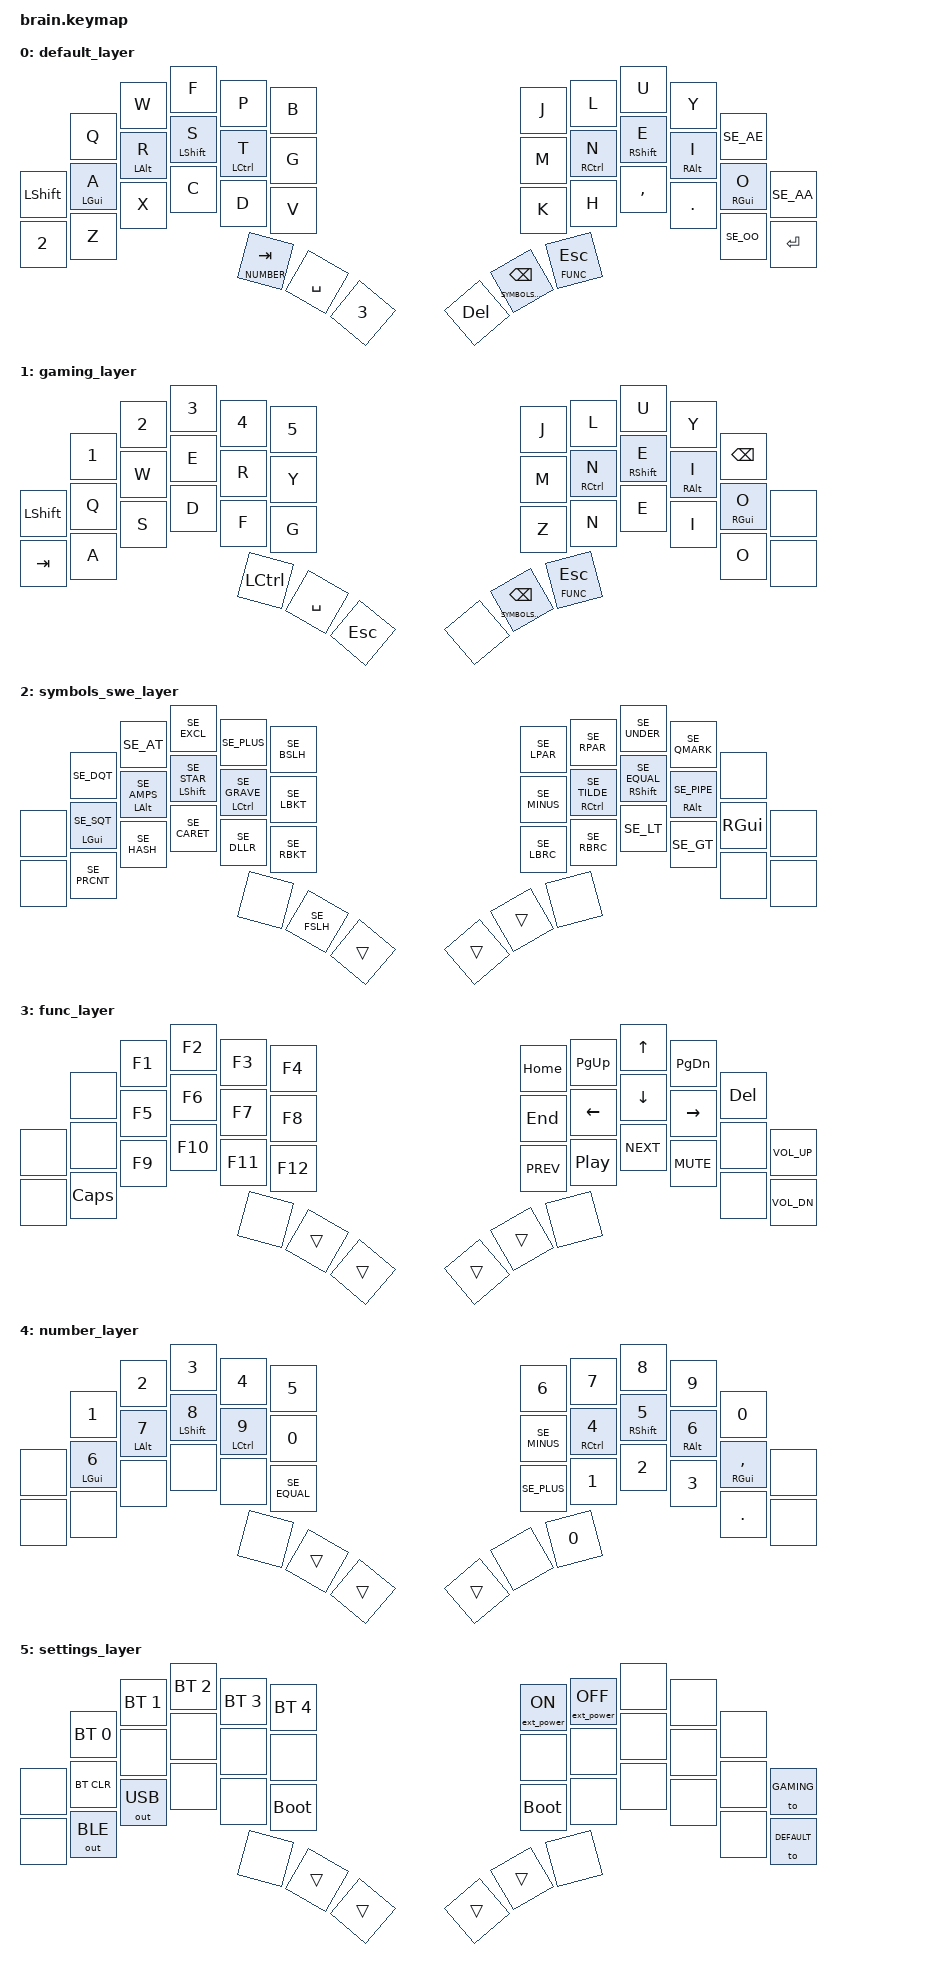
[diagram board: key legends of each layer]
/*
 * Copyright (c) 2020 The ZMK Contributors
 *
 * SPDX-License-Identifier: MIT
 */

#include <behaviors.dtsi>
#include <dt-bindings/zmk/keys.h>
#include <dt-bindings/zmk/bt.h>
#include <dt-bindings/zmk/outputs.h>
#include <dt-bindings/zmk/ext_power.h>
#include "swe_keys.h"

#define DEFAULT     0
#define GAMING      1
#define SYMBOLS_SWE 2
#define FUNC        3
#define NUMBER      4
#define SETTINGS    5

/ {
    behaviors {
        hm: homerow_mods {
            compatible = "zmk,behavior-hold-tap";
            label = "HOMEROW_MODS";
            #binding-cells = <2>;
            tapping-term-ms = <200>;
            quick-tap-ms = <0>;
            flavor = "tap-preferred";
            bindings = <&kp>, <&kp>;
        };
        hs: homerow_mods_slow {
            compatible = "zmk,behavior-hold-tap";
            label = "HOMEROW_MODS_SLOW";
            #binding-cells = <2>;
            tapping-term-ms = <300>;
            quick-tap-ms = <0>;
            flavor = "tap-preferred";
            bindings = <&kp>, <&kp>;
        };
    };
    cond_layers {
        compatible = "zmk,conditional-layers";
        // Define SETTINGS layer as tri-state
        func_tristate {
            if-layers = <SYMBOLS_SWE FUNC>;
            then-layer = <SETTINGS>;
        };
    };

/*           40 Keys
╭─────────────────╮ ╭─────────────────╮
│    0  1  2  3  4│ │ 5  6  7  8  9   │
│10 11 12 13 14 15│ │16 17 18 19 20 21│
│22 23 24 25 26 27│ │28 29 30 31 32 33│
╰────────╮34 35 36│ │37 38 39╭────────╯
         ╰────────╯ ╰────────╯       */
/*    combos {
        compatible = "zmk,combos";

        combo_esc {
            timeout-ms = <50>;
            key-positions = <0 1>;
            bindings = <&kp ESC>;
        };
        combo_tab {
            timeout-ms = <50>;
            key-positions = <10 11>;
            bindings = <&kp TAB>;
        };
        combo_ralt {
            timeout-ms = <50>;
            key-positions = <17 16>;
            bindings = <&kp RALT>;
        };
        combo_lalt {
            timeout-ms = <50>;
            key-positions = <11 12>;
            bindings = <&kp LALT>;
        };
        combo_lgui {
            timeout-ms = <50>;
            key-positions = <12 13>;
            bindings = <&kp LGUI>;
        };
        combo_rgui {
            timeout-ms = <50>;
            key-positions = <17 18>;
            bindings = <&kp RGUI>;
        };
    }; */

    keymap {
        compatible = "zmk,keymap";

        default_layer {
            bindings = <
                        &kp Q       &kp W       &kp F         &kp P           &kp B                        &kp J                 &kp L        &kp U         &kp Y       &kp SE_AE
            &kp LSHIFT  &hs LGUI A  &hm LALT R  &hm LSHIFT S  &hm LCTRL T     &kp G                        &kp M                 &hm RCTRL N  &hm RSHIFT E  &hm RALT I  &hs RGUI O  &kp SE_AA
            &kp N2      &kp Z       &kp X       &kp C         &kp D           &kp V                        &kp K                 &kp H        &kp COMMA     &kp DOT     &kp SE_OO   &kp ENTER
                                                              &lt NUMBER TAB  &kp SPACE  &kp N3   &kp DEL  &lt SYMBOLS_SWE BSPC  &lt FUNC ESC
            >;
        };

        gaming_layer {
            bindings = <
                        &kp N1  &kp N2  &kp N3  &kp N4     &kp N5                     &kp J                 &kp L        &kp U         &kp Y       &kp BSPC
            &kp LSHIFT  &kp Q   &kp W   &kp E   &kp R      &kp Y                      &kp M                 &hm RCTRL N  &hm RSHIFT E  &hm RALT I  &hs RGUI O  &none
            &kp TAB     &kp A   &kp S   &kp D   &kp F      &kp G                      &kp Z                 &kp N        &kp E         &kp I       &kp O       &none
                                                &kp LCTRL  &kp SPACE  &kp ESC   &none &lt SYMBOLS_SWE BSPC  &lt FUNC ESC
            >;
        };

        symbols_swe_layer {
            bindings = <
                   &kp SE_DQT       &kp SE_AT         &kp SE_EXCL         &kp SE_PLUS         &kp SE_BSLH                   &kp SE_LPAR   &kp SE_RPAR         &kp SE_UNDER         &kp SE_QMARK      &none
            &none  &hs LGUI SE_SQT  &hm LALT SE_AMPS  &hm LSHIFT SE_STAR  &hm LCTRL SE_GRAVE  &kp SE_LBKT                   &kp SE_MINUS  &hm RCTRL SE_TILDE  &hm RSHIFT SE_EQUAL  &hm RALT SE_PIPE  &kp RGUI  &none
            &none  &kp SE_PRCNT     &kp SE_HASH       &kp SE_CARET        &kp SE_DLLR         &kp SE_RBKT                   &kp SE_LBRC   &kp SE_RBRC         &kp SE_LT            &kp SE_GT         &none     &none
                                                                          &none               &kp SE_FSLH  &trans   &trans  &trans        &none
            >;
        };

        func_layer {
            bindings = <
                   &none     &kp F1  &kp F2   &kp F3   &kp F4                    &kp HOME    &kp PG_UP  &kp UP      &kp PG_DN   &kp DEL
            &none  &none     &kp F5  &kp F6   &kp F7   &kp F8                    &kp END     &kp LEFT   &kp DOWN    &kp RIGHT   &none    &kp C_VOL_UP
            &none  &kp CAPS  &kp F9  &kp F10  &kp F11  &kp F12                   &kp C_PREV  &kp C_PP   &kp C_NEXT  &kp K_MUTE  &none    &kp C_VOL_DN
                                              &none    &trans   &trans   &trans  &trans      &none
            >;
        };

        number_layer {
            bindings = <
                   &kp N1       &kp N2      &kp N3         &kp N4        &kp N5                         &kp N6        &kp N7        &kp N8         &kp N9       &kp N0
            &none  &hs LGUI  N6 &hm LALT N7 &hm LSHIFT N8  &hm LCTRL N9  &kp N0                         &kp SE_MINUS  &hm RCTRL N4  &hm RSHIFT N5  &hm RALT N6  &hm RGUI COMMA  &none
            &none  &none        &none       &none          &none         &kp SE_EQUAL                   &kp SE_PLUS   &kp N1        &kp N2         &kp N3       &kp DOT         &none
                                                           &none         &trans        &trans   &trans  &none         &kp N0
            >;
        };

        settings_layer {
            bindings = <
                   &bt BT_SEL 0  &bt BT_SEL 1  &bt BT_SEL 2  &bt BT_SEL 3  &bt BT_SEL 4                   &ext_power EP_ON  &ext_power EP_OFF  &none  &none  &none
            &none  &bt BT_CLR    &none         &none         &none         &none                          &none             &none              &none  &none  &none  &to GAMING
            &none  &out OUT_BLE  &out OUT_USB  &none         &none         &bootloader                    &bootloader       &none              &none  &none  &none  &to DEFAULT
                                                             &none         &trans        &trans   &trans  &trans            &none
            >;
        };
    };
};

